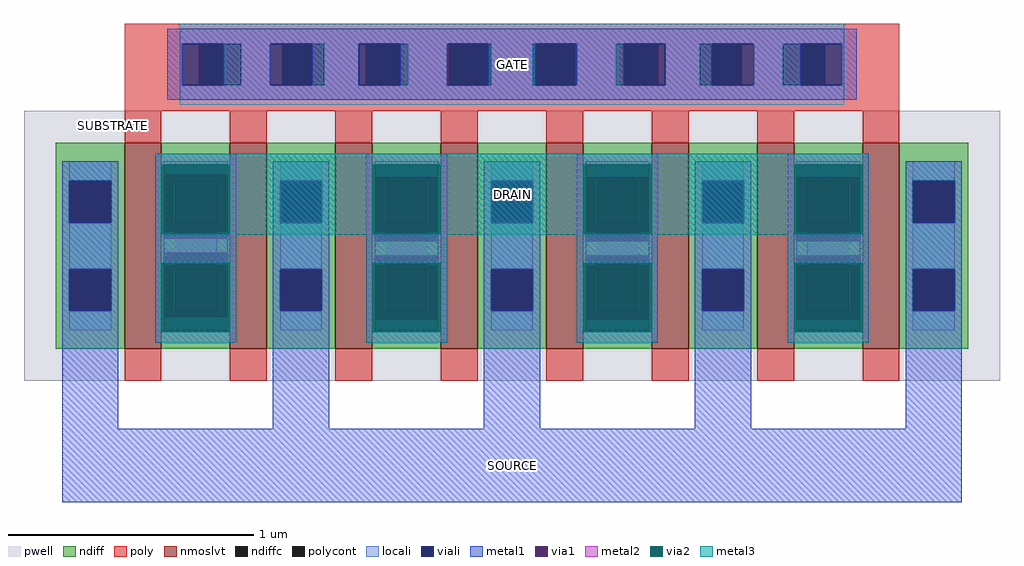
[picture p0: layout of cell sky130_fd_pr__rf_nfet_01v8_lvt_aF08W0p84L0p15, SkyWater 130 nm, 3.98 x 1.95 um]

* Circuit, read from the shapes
.subckt sky130_fd_pr__rf_nfet_01v8_lvt_aF08W0p84L0p15 DRAIN GATE SOURCE SUBSTRATE
XM1 DRAIN GATE SOURCE SUBSTRATE sky130_fd_pr__nfet_01v8_lvt w=0.84 l=0.15 m=8
.ends

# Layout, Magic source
magic
tech sky130A
magscale 1 2
<< pwell >>
rect 10 10 806 230
<< nmoslvt >>
rect 92 36 122 204
rect 178 36 208 204
rect 264 36 294 204
rect 350 36 380 204
rect 436 36 466 204
rect 522 36 552 204
rect 608 36 638 204
rect 694 36 724 204
<< ndiff >>
rect 36 173 92 204
rect 36 139 47 173
rect 81 139 92 173
rect 36 101 92 139
rect 36 67 47 101
rect 81 67 92 101
rect 36 36 92 67
rect 122 173 178 204
rect 122 139 133 173
rect 167 139 178 173
rect 122 101 178 139
rect 122 67 133 101
rect 167 67 178 101
rect 122 36 178 67
rect 208 173 264 204
rect 208 139 219 173
rect 253 139 264 173
rect 208 101 264 139
rect 208 67 219 101
rect 253 67 264 101
rect 208 36 264 67
rect 294 173 350 204
rect 294 139 305 173
rect 339 139 350 173
rect 294 101 350 139
rect 294 67 305 101
rect 339 67 350 101
rect 294 36 350 67
rect 380 173 436 204
rect 380 139 391 173
rect 425 139 436 173
rect 380 101 436 139
rect 380 67 391 101
rect 425 67 436 101
rect 380 36 436 67
rect 466 173 522 204
rect 466 139 477 173
rect 511 139 522 173
rect 466 101 522 139
rect 466 67 477 101
rect 511 67 522 101
rect 466 36 522 67
rect 552 173 608 204
rect 552 139 563 173
rect 597 139 608 173
rect 552 101 608 139
rect 552 67 563 101
rect 597 67 608 101
rect 552 36 608 67
rect 638 173 694 204
rect 638 139 649 173
rect 683 139 694 173
rect 638 101 694 139
rect 638 67 649 101
rect 683 67 694 101
rect 638 36 694 67
rect 724 173 780 204
rect 724 139 735 173
rect 769 139 780 173
rect 724 101 780 139
rect 724 67 735 101
rect 769 67 780 101
rect 724 36 780 67
<< ndiffc >>
rect 47 139 81 173
rect 47 67 81 101
rect 133 139 167 173
rect 133 67 167 101
rect 219 139 253 173
rect 219 67 253 101
rect 305 139 339 173
rect 305 67 339 101
rect 391 139 425 173
rect 391 67 425 101
rect 477 139 511 173
rect 477 67 511 101
rect 563 139 597 173
rect 563 67 597 101
rect 649 139 683 173
rect 649 67 683 101
rect 735 139 769 173
rect 735 67 769 101
<< poly >>
rect 92 285 724 301
rect 92 251 153 285
rect 187 251 221 285
rect 255 251 289 285
rect 323 251 357 285
rect 391 251 425 285
rect 459 251 493 285
rect 527 251 561 285
rect 595 251 629 285
rect 663 251 724 285
rect 92 230 724 251
rect 92 204 122 230
rect 178 204 208 230
rect 264 204 294 230
rect 350 204 380 230
rect 436 204 466 230
rect 522 204 552 230
rect 608 204 638 230
rect 694 204 724 230
rect 92 10 122 36
rect 178 10 208 36
rect 264 10 294 36
rect 350 10 380 36
rect 436 10 466 36
rect 522 10 552 36
rect 608 10 638 36
rect 694 10 724 36
<< polycont >>
rect 153 251 187 285
rect 221 251 255 285
rect 289 251 323 285
rect 357 251 391 285
rect 425 251 459 285
rect 493 251 527 285
rect 561 251 595 285
rect 629 251 663 285
<< locali >>
rect 137 285 679 301
rect 137 251 139 285
rect 187 251 211 285
rect 255 251 283 285
rect 323 251 355 285
rect 391 251 425 285
rect 461 251 493 285
rect 533 251 561 285
rect 605 251 629 285
rect 677 251 679 285
rect 137 235 679 251
rect 47 173 81 189
rect 47 101 81 139
rect 47 51 81 67
rect 133 173 167 189
rect 133 101 167 139
rect 133 51 167 67
rect 219 173 253 189
rect 219 101 253 139
rect 219 51 253 67
rect 305 173 339 189
rect 305 101 339 139
rect 305 51 339 67
rect 391 173 425 189
rect 391 101 425 139
rect 391 51 425 67
rect 477 173 511 189
rect 477 101 511 139
rect 477 51 511 67
rect 563 173 597 189
rect 563 101 597 139
rect 563 51 597 67
rect 649 173 683 189
rect 649 101 683 139
rect 649 51 683 67
rect 735 173 769 189
rect 735 101 769 139
rect 735 51 769 67
<< viali >>
rect 139 251 153 285
rect 153 251 173 285
rect 211 251 221 285
rect 221 251 245 285
rect 283 251 289 285
rect 289 251 317 285
rect 355 251 357 285
rect 357 251 389 285
rect 427 251 459 285
rect 459 251 461 285
rect 499 251 527 285
rect 527 251 533 285
rect 571 251 595 285
rect 595 251 605 285
rect 643 251 663 285
rect 663 251 677 285
rect 47 139 81 173
rect 47 67 81 101
rect 133 139 167 173
rect 133 67 167 101
rect 219 139 253 173
rect 219 67 253 101
rect 305 139 339 173
rect 305 67 339 101
rect 391 139 425 173
rect 391 67 425 101
rect 477 139 511 173
rect 477 67 511 101
rect 563 139 597 173
rect 563 67 597 101
rect 649 139 683 173
rect 649 67 683 101
rect 735 139 769 173
rect 735 67 769 101
<< metal1 >>
rect 127 285 689 297
rect 127 251 139 285
rect 173 251 211 285
rect 245 251 283 285
rect 317 251 355 285
rect 389 251 427 285
rect 461 251 499 285
rect 533 251 571 285
rect 605 251 643 285
rect 677 251 689 285
rect 127 239 689 251
rect 41 173 87 189
rect 41 139 47 173
rect 81 139 87 173
rect 41 101 87 139
rect 41 67 47 101
rect 81 67 87 101
rect 41 -29 87 67
rect 124 178 176 189
rect 124 114 176 126
rect 124 51 176 62
rect 213 173 259 189
rect 213 139 219 173
rect 253 139 259 173
rect 213 101 259 139
rect 213 67 219 101
rect 253 67 259 101
rect 213 -29 259 67
rect 296 176 348 189
rect 296 112 348 124
rect 296 51 348 60
rect 385 173 431 189
rect 385 139 391 173
rect 425 139 431 173
rect 385 101 431 139
rect 385 67 391 101
rect 425 67 431 101
rect 385 -29 431 67
rect 468 176 520 189
rect 468 112 520 124
rect 468 51 520 60
rect 557 173 603 189
rect 557 139 563 173
rect 597 139 603 173
rect 557 101 603 139
rect 557 67 563 101
rect 597 67 603 101
rect 557 -29 603 67
rect 640 176 692 189
rect 640 112 692 124
rect 640 51 692 60
rect 729 173 775 189
rect 729 139 735 173
rect 769 139 775 173
rect 729 101 775 139
rect 729 67 735 101
rect 769 67 775 101
rect 729 -29 775 67
rect 41 -89 775 -29
<< via1 >>
rect 124 173 176 178
rect 124 139 133 173
rect 133 139 167 173
rect 167 139 176 173
rect 124 126 176 139
rect 124 101 176 114
rect 124 67 133 101
rect 133 67 167 101
rect 167 67 176 101
rect 124 62 176 67
rect 296 173 348 176
rect 296 139 305 173
rect 305 139 339 173
rect 339 139 348 173
rect 296 124 348 139
rect 296 101 348 112
rect 296 67 305 101
rect 305 67 339 101
rect 339 67 348 101
rect 296 60 348 67
rect 468 173 520 176
rect 468 139 477 173
rect 477 139 511 173
rect 511 139 520 173
rect 468 124 520 139
rect 468 101 520 112
rect 468 67 477 101
rect 477 67 511 101
rect 511 67 520 101
rect 468 60 520 67
rect 640 173 692 176
rect 640 139 649 173
rect 649 139 683 173
rect 683 139 692 173
rect 640 124 692 139
rect 640 101 692 112
rect 640 67 649 101
rect 649 67 683 101
rect 683 67 692 101
rect 640 60 692 67
<< metal2 >>
rect 117 186 183 195
rect 117 130 122 186
rect 178 130 183 186
rect 117 126 124 130
rect 176 126 183 130
rect 117 114 183 126
rect 117 106 124 114
rect 176 106 183 114
rect 117 50 122 106
rect 178 50 183 106
rect 117 41 183 50
rect 289 186 355 195
rect 289 130 294 186
rect 350 130 355 186
rect 289 124 296 130
rect 348 124 355 130
rect 289 112 355 124
rect 289 106 296 112
rect 348 106 355 112
rect 289 50 294 106
rect 350 50 355 106
rect 289 41 355 50
rect 461 186 527 195
rect 461 130 466 186
rect 522 130 527 186
rect 461 124 468 130
rect 520 124 527 130
rect 461 112 527 124
rect 461 106 468 112
rect 520 106 527 112
rect 461 50 466 106
rect 522 50 527 106
rect 461 41 527 50
rect 633 186 699 195
rect 633 130 638 186
rect 694 130 699 186
rect 633 124 640 130
rect 692 124 699 130
rect 633 112 699 124
rect 633 106 640 112
rect 692 106 699 112
rect 633 50 638 106
rect 694 50 699 106
rect 633 41 699 50
<< via2 >>
rect 122 178 178 186
rect 122 130 124 178
rect 124 130 176 178
rect 176 130 178 178
rect 122 62 124 106
rect 124 62 176 106
rect 176 62 178 106
rect 122 50 178 62
rect 294 176 350 186
rect 294 130 296 176
rect 296 130 348 176
rect 348 130 350 176
rect 294 60 296 106
rect 296 60 348 106
rect 348 60 350 106
rect 294 50 350 60
rect 466 176 522 186
rect 466 130 468 176
rect 468 130 520 176
rect 520 130 522 176
rect 466 60 468 106
rect 468 60 520 106
rect 520 60 522 106
rect 466 50 522 60
rect 638 176 694 186
rect 638 130 640 176
rect 640 130 692 176
rect 692 130 694 176
rect 638 60 640 106
rect 640 60 692 106
rect 692 60 694 106
rect 638 50 694 60
<< metal3 >>
rect 117 186 699 195
rect 117 130 122 186
rect 178 130 294 186
rect 350 130 466 186
rect 522 130 638 186
rect 694 130 699 186
rect 117 129 699 130
rect 117 106 183 129
rect 117 50 122 106
rect 178 50 183 106
rect 117 41 183 50
rect 289 106 355 129
rect 289 50 294 106
rect 350 50 355 106
rect 289 41 355 50
rect 461 106 527 129
rect 461 50 466 106
rect 522 50 527 106
rect 461 41 527 50
rect 633 106 699 129
rect 633 50 638 106
rect 694 50 699 106
rect 633 41 699 50
<< labels >>
flabel metal3 s 117 129 699 195 0 FreeSans 400 0 0 0 DRAIN
port 1 nsew
flabel metal1 s 127 239 689 297 0 FreeSans 400 0 0 0 GATE
port 2 nsew
flabel metal1 s 41 -89 775 -29 0 FreeSans 400 0 0 0 SOURCE
port 3 nsew
flabel pwell s 76 211 90 226 0 FreeSans 200 0 0 0 SUBSTRATE
port 4 nsew
<< properties >>
string GDS_FILE $PDKPATH/libs.ref/sky130_fd_pr/gds/sky130_fd_pr.gds
string GDS_END 5963028
string GDS_START 5950406
string path 1.600 4.725 1.600 -2.225 
<< end >>
